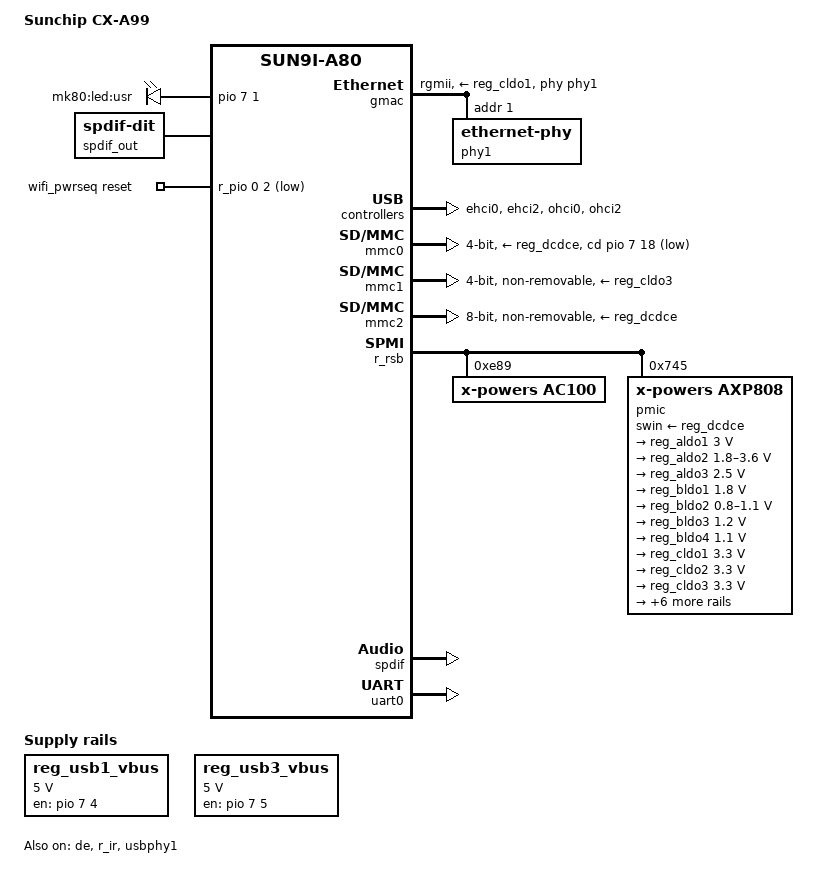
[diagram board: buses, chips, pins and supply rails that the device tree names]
// SPDX-License-Identifier: (GPL-2.0+ or MIT)
/*
 * Copyright (C) 2018 Marcus Cooper
 * Author: Marcus Cooper <codekipper@gmail.com>
 */

/dts-v1/;
#include "sun9i-a80.dtsi"

#include <dt-bindings/gpio/gpio.h>

/ {
	model = "Sunchip CX-A99";
	compatible = "sunchip,cx-a99", "allwinner,sun9i-a80";

	aliases {
		serial0 = &uart0;
	};

	chosen {
		stdout-path = "serial0:115200n8";
	};

	leds {
		compatible = "gpio-leds";

		/* The LED names match those found on the board */
		led {
			label = "mk80:led:usr";
			gpios = <&pio 7 1 GPIO_ACTIVE_HIGH>;
		};
	};

	reg_usb1_vbus: usb1-vbus {
		compatible = "regulator-fixed";
		pinctrl-names = "default";
		regulator-min-microvolt = <5000000>;
		regulator-max-microvolt = <5000000>;
		enable-active-high;
		gpio = <&pio 7 4 GPIO_ACTIVE_HIGH>; /* PH4 */
	};

	reg_usb3_vbus: usb3-vbus {
		compatible = "regulator-fixed";
		pinctrl-names = "default";
		regulator-min-microvolt = <5000000>;
		regulator-max-microvolt = <5000000>;
		enable-active-high;
		gpio = <&pio 7 5 GPIO_ACTIVE_HIGH>; /* PH5 */
	};

	sound {
		compatible = "simple-audio-card";
		simple-audio-card,name = "On-board SPDIF";
		simple-audio-card,cpu {
			sound-dai = <&spdif>;
		};

		simple-audio-card,codec {
			sound-dai = <&spdif_out>;
		};
	};

	spdif_out: spdif-out {
		#sound-dai-cells = <0>;
		compatible = "linux,spdif-dit";
	};

	wifi_pwrseq: wifi-pwrseq {
		compatible = "mmc-pwrseq-simple";
		clocks = <&ac100_rtc 1>;
		clock-names = "ext_clock";
		/* enables internal regulator and de-asserts reset */
		reset-gpios = <&r_pio 0 2 GPIO_ACTIVE_LOW>; /* PL2 WL-PMU-EN */
	};
};

&de {
	status = "okay";
};

&gmac {
	pinctrl-names = "default";
	pinctrl-0 = <&gmac_rgmii_pins>;
	phy = <&phy1>;
	phy-mode = "rgmii";
	phy-supply = <&reg_cldo1>;
	status = "okay";

	phy1: ethernet-phy@1 {
		reg = <1>;
	};
};

&ehci0 {
	status = "okay";
};

&ehci1 {
	/* Enable if HSIC peripheral is connected */
	status = "disabled";
};

&ehci2 {
	status = "okay";
};

&mmc0 {
	pinctrl-names = "default";
	pinctrl-0 = <&mmc0_pins>;
	vmmc-supply = <&reg_dcdce>;
	bus-width = <4>;
	cd-gpios = <&pio 7 18 GPIO_ACTIVE_LOW>; /* PH8 */
	status = "okay";
};

&mmc1 {
	pinctrl-names = "default";
	pinctrl-0 = <&mmc1_pins>;
	vmmc-supply = <&reg_cldo3>;
	vqmmc-supply = <&reg_aldo2>;
	mmc-pwrseq = <&wifi_pwrseq>;
	bus-width = <4>;
	non-removable;
	status = "okay";
};

&mmc1_pins {
	bias-pull-up;
};

&mmc2 {
	pinctrl-names = "default";
	pinctrl-0 = <&mmc2_8bit_pins>;
	vmmc-supply = <&reg_dcdce>;
	bus-width = <8>;
	non-removable;
	cap-mmc-hw-reset;
	status = "okay";
};

&mmc2_8bit_pins {
	/* Increase drive strength for DDR modes */
	drive-strength = <40>;
};

&ohci0 {
	status = "okay";
};

&ohci2 {
	status = "okay";
};

&osc32k {
	/* osc32k input is from AC100 */
	clocks = <&ac100_rtc 0>;
};

&r_ir {
	status = "okay";
};

&r_rsb {
	status = "okay";

	ac100: codec@e89 {
		compatible = "x-powers,ac100";
		reg = <0xe89>;

		ac100_codec: codec {
			compatible = "x-powers,ac100-codec";
			interrupt-parent = <&r_pio>;
			interrupts = <0 9 IRQ_TYPE_LEVEL_LOW>;	/* PL9 */
			#clock-cells = <0>;
			clock-output-names = "4M_adda";
		};

		ac100_rtc: rtc {
			compatible = "x-powers,ac100-rtc";
			interrupt-parent = <&nmi_intc>;
			interrupts = <0 IRQ_TYPE_LEVEL_LOW>;
			clocks = <&ac100_codec>;
			#clock-cells = <1>;
			clock-output-names = "cko1_rtc",
					     "cko2_rtc",
					     "cko3_rtc";
		};
	};

	pmic@745 {
		compatible = "x-powers,axp808", "x-powers,axp806";
		reg = <0x745>;
		interrupt-parent = <&nmi_intc>;
		interrupts = <0 IRQ_TYPE_LEVEL_LOW>;
		interrupt-controller;
		#interrupt-cells = <1>;

		swin-supply = <&reg_dcdce>;

		/* In comments: Status taken from vendor sys_config1.fex. */
		regulators {
			/* 3.0 V (enabled). */
			reg_aldo1: aldo1 {
				regulator-boot-on;
				regulator-min-microvolt = <3000000>;
				regulator-max-microvolt = <3000000>;
				regulator-name = "vcc-3v0-1";
			};

			/* 1.8 V (enabled). */
			reg_aldo2: aldo2 {
				regulator-boot-on;
				regulator-min-microvolt = <1800000>;
				regulator-max-microvolt = <3600000>;
				regulator-name = "vcc-pg-pm-wifi+btio-audio";
			};

			/* 2.5 V (enabled). */
			reg_aldo3: aldo3 {
				regulator-boot-on;
				regulator-min-microvolt = <2500000>;
				regulator-max-microvolt = <2500000>;
				regulator-name = "vcc-pa-gmac2v5";
			};

			/* 1.8 V (enabled). */
			reg_bldo1: bldo1 {
				regulator-boot-on;
				regulator-always-on;	/* Hang if disabled */
				regulator-min-microvolt = <1800000>;
				regulator-max-microvolt = <1800000>;
				regulator-name = "vdd18-dll-vcc18-pll";
			};

			/* 0.9 V (enabled). */
			reg_bldo2: bldo2 {
				regulator-boot-on;
				regulator-always-on;	/* Hang if disabled */
				regulator-min-microvolt = < 800000>;
				regulator-max-microvolt = <1100000>;
				regulator-name = "vdd-cpus";
			};

			/* 1.2 V (disabled). */
			reg_bldo3: bldo3 {
				regulator-min-microvolt = <1200000>;
				regulator-max-microvolt = <1200000>;
				regulator-name = "vcc12-hsic";
			};

			/* 1.1 V (enabled). */
			reg_bldo4: bldo4 {
				regulator-boot-on;
				regulator-min-microvolt = <1100000>;
				regulator-max-microvolt = <1100000>;
				regulator-name = "vdd09-hdmi";
			};

			/* 3.3 V (enabled). PLx pins control some regulators. */
			reg_cldo1: cldo1 {
				regulator-boot-on;
				regulator-always-on;
				regulator-min-microvolt = <3300000>;
				regulator-max-microvolt = <3300000>;
				regulator-name = "vcc-pl-led";
			};

			/*
			 * cldo2 and cldo3 are connected in parallel.
			 * There is currently no way to express that.
			 * For now, use regulator-always-on on cldo2 and lock
			 * the voltage on both to 3.3 V.
			 *
			 * 3.3 V (disabled).
			 */
			reg_cldo2: cldo2 {
				regulator-always-on;
				regulator-min-microvolt = <3300000>;
				regulator-max-microvolt = <3300000>;
				regulator-name = "vbat2-wifi+bt";
			};

			/* 3.3 V (disabled). */
			reg_cldo3: cldo3 {
				regulator-min-microvolt = <3300000>;
				regulator-max-microvolt = <3300000>;
				regulator-name = "vbat1-wifi+bt";
			};

			/* 0.9 V (enabled). */
			reg_dcdca: dcdca {
				regulator-boot-on;
				regulator-always-on;
				regulator-min-microvolt = < 800000>;
				regulator-max-microvolt = <1100000>;
				regulator-name = "vdd-cpua";
			};

			/* 1.5 V (enabled). */
			reg_dcdcb: dcdcb {
				regulator-boot-on;
				regulator-always-on;
				regulator-min-microvolt = <1500000>;
				regulator-max-microvolt = <1500000>;
				regulator-name = "vcc-dram";
			};

			/* 0.9 V (disabled). */
			reg_dcdcc: dcdcc {
				regulator-min-microvolt = <900000>;
				regulator-max-microvolt = <900000>;
				regulator-name = "vdd-gpu";
			};

			/* 0.9 V (enabled). */
			reg_dcdcd: dcdcd {
				regulator-boot-on;
				regulator-always-on;	/* Hang if disabled. */
				regulator-min-microvolt = <900000>;
				regulator-max-microvolt = <900000>;
				regulator-name = "vdd-sys";
			};

			/* 3.3 V (enabled). */
			reg_dcdce: dcdce {
				regulator-boot-on;
				regulator-always-on;
				regulator-min-microvolt = <3300000>;
				regulator-max-microvolt = <3300000>;
				regulator-name = "vcc-pb-pc-pd-pe-pf-ph-mmc-spdif";
			};

			/* 3.3 V (disabled). */
			reg_sw: sw {
				regulator-min-microvolt = <3300000>;
				regulator-max-microvolt = <3300000>;
				regulator-name = "vcc-gmac3v3";
			};
		};
	};
};

&spdif {
	pinctrl-names = "default";
	pinctrl-0 = <&spdif_tx_pins_a>;
	status = "okay";
};

&uart0 {
	pinctrl-names = "default";
	pinctrl-0 = <&uart0_ph_pins>;
	status = "okay";
};

&usbphy1 {
	phy-supply = <&reg_usb1_vbus>;
	status = "okay";
};

&usbphy2 {
	phy-supply = <&reg_bldo4>;
	/* Enable if HSIC peripheral is connected */
	status = "disabled";
};

&usbphy3 {
	phy-supply = <&reg_usb3_vbus>;
	ctatus = "okay";
};
